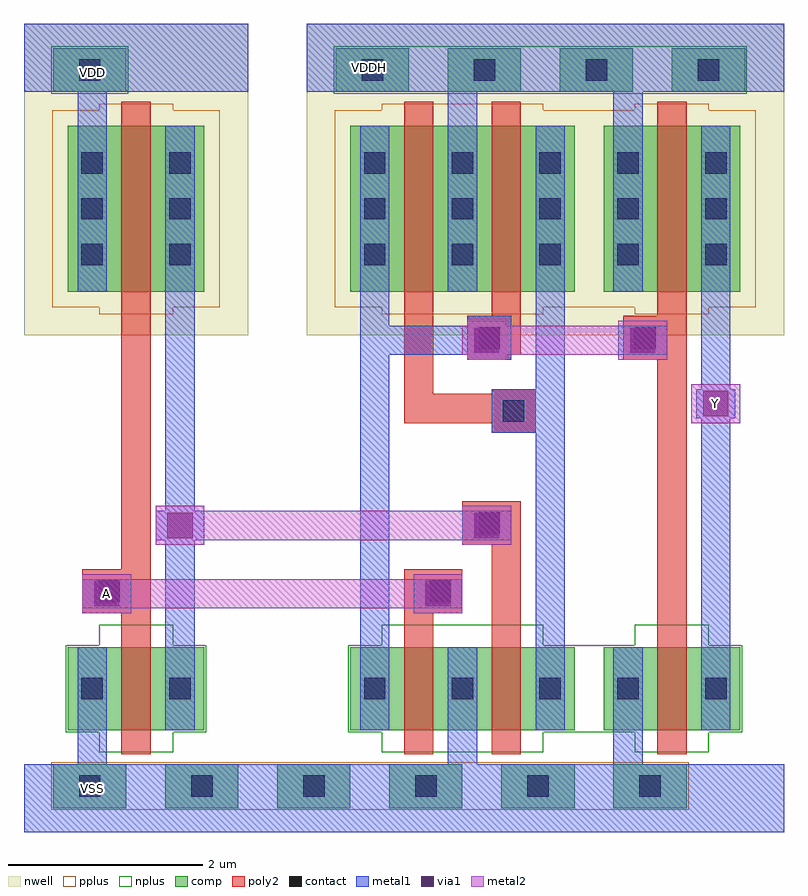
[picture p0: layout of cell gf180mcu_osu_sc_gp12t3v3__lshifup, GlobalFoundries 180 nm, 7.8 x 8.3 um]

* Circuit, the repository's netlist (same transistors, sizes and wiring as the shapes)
* Copyright 2022 Google LLC
*
* Licensed under the Apache License, Version 2.0 (the "License");
* you may not use this file except in compliance with the License.
* You may obtain a copy of the License at
*
*      http://www.apache.org/licenses/LICENSE-2.0
*
* Unless required by applicable law or agreed to in writing, software
* distributed under the License is distributed on an "AS IS" BASIS,
* WITHOUT WARRANTIES OR CONDITIONS OF ANY KIND, either express or implied.
* See the License for the specific language governing permissions and
* limitations under the License.

* NGSPICE file created from gf180mcu_osu_sc_gp12t3v3__lshifup.ext - technology: gf180mcuC

.subckt gf180mcu_osu_sc_gp12t3v3__lshifup A Y VDDH VDD VSS
X0 a_26_21# A VDD VDD pfet_03p3 w=1.7u l=0.3u
X1 Y a_67_21# VDDH VDDH pfet_03p3 w=1.7u l=0.3u
X2 VSS A a_67_21# VSS nfet_03p3 w=0.85u l=0.3u
X3 Y a_67_21# VSS VSS nfet_03p3 w=0.85u l=0.3u
X4 VDDH a_78_84# a_67_21# VDDH pfet_03p3 w=1.7u l=0.3u
X5 a_78_84# a_67_21# VDDH VDDH pfet_03p3 w=1.7u l=0.3u
X6 a_26_21# A VSS VSS nfet_03p3 w=0.85u l=0.3u
X7 a_78_84# a_26_21# VSS VSS nfet_03p3 w=0.85u l=0.3u
.ends

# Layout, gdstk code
import gdstk
lib = gdstk.Library(unit=1e-6, precision=1e-09)
def R(c, l, rs):  # rectangles x0, y0, x1, y1
    for r in rs: c.add(gdstk.rectangle(r[:2], r[2:], *l))
def A(c, l, x, y, w, h, nx, ny, dx, dy):  # array of equal rectangles
    R(c, l, [(x+i*dx, y+j*dy, x+i*dx+w, y+j*dy+h) for i in range(nx) for j in range(ny)])
nwell = (21, 0)
comp = (22, 0)
poly2 = (30, 0)
pplus = (31, 0)
nplus = (32, 0)
contact = (33, 0)
metal1 = (34, 0)
via1 = (35, 0)
metal2 = (36, 0)

gf180mcu_osu_sc_gp12t3v3 = lib.new_cell('gf180mcu_osu_sc_gp12t3v3__lshifup')
R(gf180mcu_osu_sc_gp12t3v3, nwell, [(0,5.1,2.3,8.3), (2.9,5.1,7.8,8.3)])
A(gf180mcu_osu_sc_gp12t3v3, comp, 0.3, 0.25, 0.75, 0.45, 6, 1, 1.15, 0)
A(gf180mcu_osu_sc_gp12t3v3, comp, 3.2, 7.6, 0.75, 0.45, 4, 1, 1.15, 0)
R(gf180mcu_osu_sc_gp12t3v3, comp, [(0.45,1.05,1.85,1.9), (3.35,1.05,5.65,1.9), (5.95,1.05,7.35,1.9), (0.45,5.55,1.85,7.25), (3.35,5.55,5.65,7.25), (5.95,5.55,7.35,7.25), (0.3,7.6,1.05,8.05)])
R(gf180mcu_osu_sc_gp12t3v3, poly2, [(1,0.8,1.3,2.25), (3.9,0.8,4.2,2.25), (4.8,0.8,5.1,2.95), (6.5,0.8,6.8,4.85), (0.6,2.25,1.3,2.7), (3.9,2.25,4.5,2.7), (1,2.7,1.3,7.5), (4.5,2.95,5.1,3.4), (4.8,4.1,5.25,4.2), (3.9,4.2,5.25,4.5), (3.9,4.5,4.2,7.5), (4.8,4.5,5.25,4.55), (4.55,4.85,5,4.9), (6.15,4.85,6.8,5.3), (4.55,4.9,5.1,5.3), (4.8,5.3,5.1,7.5), (6.5,5.3,6.8,7.5)])
R(gf180mcu_osu_sc_gp12t3v3, pplus, [(0.28,0.23,6.82,0.72), (0.77,5.32,1.53,5.39), (3.67,5.32,5.33,5.39), (6.27,5.32,7.03,5.39), (0.29,5.39,2.01,7.41), (3.19,5.39,7.51,7.41), (0.77,7.41,1.53,7.48), (3.67,7.41,5.33,7.48), (6.27,7.41,7.03,7.48)])
R(gf180mcu_osu_sc_gp12t3v3, nplus, [(0.77,0.82,1.53,1.03), (3.67,0.82,5.33,1.03), (6.27,0.82,7.03,1.03), (0.43,1.03,1.87,1.92), (3.33,1.03,7.37,1.92), (0.77,1.92,1.53,2.13), (3.67,1.92,5.33,2.13), (6.27,1.92,7.03,2.13), (0.28,7.58,1.07,8.07), (3.18,7.58,7.42,8.07)])
A(gf180mcu_osu_sc_gp12t3v3, contact, 0.565, 0.365, 0.22, 0.22, 6, 1, 1.15, 0)
A(gf180mcu_osu_sc_gp12t3v3, contact, 3.49, 1.365, 0.22, 0.22, 3, 2, 0.9, 4.455)
A(gf180mcu_osu_sc_gp12t3v3, contact, 0.59, 5.82, 0.22, 0.22, 1, 3, 0, 0.47)
A(gf180mcu_osu_sc_gp12t3v3, contact, 1.49, 5.82, 0.22, 0.22, 1, 3, 0, 0.47)
A(gf180mcu_osu_sc_gp12t3v3, contact, 6.09, 5.82, 0.22, 0.22, 1, 3, 0, 0.47)
A(gf180mcu_osu_sc_gp12t3v3, contact, 6.99, 5.82, 0.22, 0.22, 1, 3, 0, 0.47)
A(gf180mcu_osu_sc_gp12t3v3, contact, 3.49, 6.29, 0.22, 0.22, 3, 2, 0.9, 0.47)
A(gf180mcu_osu_sc_gp12t3v3, contact, 3.465, 7.715, 0.22, 0.22, 4, 1, 1.15, 0)
R(gf180mcu_osu_sc_gp12t3v3, contact, [(0.59,1.365,0.81,1.585), (1.49,1.365,1.71,1.585), (6.09,1.365,6.31,1.585), (6.99,1.365,7.21,1.585), (0.765,2.365,0.985,2.585), (4.165,2.365,4.385,2.585), (4.665,3.065,4.885,3.285), (4.915,4.215,5.135,4.435), (4.665,4.965,4.885,5.185), (6.265,4.965,6.485,5.185), (0.565,7.715,0.785,7.935)])
R(gf180mcu_osu_sc_gp12t3v3, metal1, [(0,0,7.8,0.7), (0.55,0.7,0.85,1.9), (4.35,0.7,4.65,1.9), (6.05,0.7,6.35,1.9), (1.45,1.05,1.75,3), (3.45,1.05,3.75,4.9), (5.25,1.05,5.55,4.1), (6.95,1.05,7.25,4.25), (0.6,2.3,1.1,2.6), (4,2.3,4.5,2.6), (1.35,3,1.85,3.3), (4.5,3,5,3.3), (1.45,3.3,1.75,7.25), (4.8,4.1,5.55,4.55), (6.9,4.25,7.3,4.55), (5.25,4.55,5.55,7.25), (6.95,4.55,7.25,7.25), (4.55,4.85,5,4.9), (3.45,4.9,5,5.2), (6.1,4.9,6.6,5.2), (3.45,5.2,3.75,7.25), (4.55,5.2,5,5.3), (0.55,5.55,0.85,7.6), (4.35,5.55,4.65,7.6), (6.05,5.55,6.35,7.6), (0,7.6,2.3,8.3), (2.9,7.6,7.8,8.3)])
R(gf180mcu_osu_sc_gp12t3v3, via1, [(0.72,2.32,0.98,2.58), (4.12,2.32,4.38,2.58), (1.47,3.02,1.73,3.28), (4.62,3.02,4.88,3.28), (6.97,4.27,7.23,4.53), (4.62,4.92,4.88,5.18), (6.22,4.92,6.48,5.18)])
R(gf180mcu_osu_sc_gp12t3v3, metal2, [(0.6,2.25,1.1,2.3), (4,2.25,4.5,2.3), (0.6,2.3,4.5,2.6), (0.6,2.6,1.1,2.65), (4,2.6,4.5,2.65), (1.35,2.95,1.85,3), (4.5,2.95,5,3), (1.35,3,5,3.3), (1.35,3.3,1.85,3.35), (4.5,3.3,5,3.35), (6.85,4.2,7.35,4.6), (4.55,4.85,4.95,4.9), (6.1,4.85,6.6,4.9), (4.5,4.9,6.6,5.2), (4.55,5.2,4.95,5.25), (6.1,5.2,6.6,5.25)])
gf180mcu_osu_sc_gp12t3v3.add(gdstk.Label('A', (0.85,2.45), layer=36, texttype=10))
gf180mcu_osu_sc_gp12t3v3.add(gdstk.Label('Y', (7.1,4.4), layer=36, texttype=10))
gf180mcu_osu_sc_gp12t3v3.add(gdstk.Label('VDDH', (3.55,7.85), layer=34, texttype=10))
gf180mcu_osu_sc_gp12t3v3.add(gdstk.Label('VDD', (0.7,7.8), layer=34, texttype=10))
gf180mcu_osu_sc_gp12t3v3.add(gdstk.Label('VSS', (0.7,0.45), layer=34, texttype=10))

lib.write_gds('gf180mcu_osu_sc_gp12t3v3__lshifup.gds')
